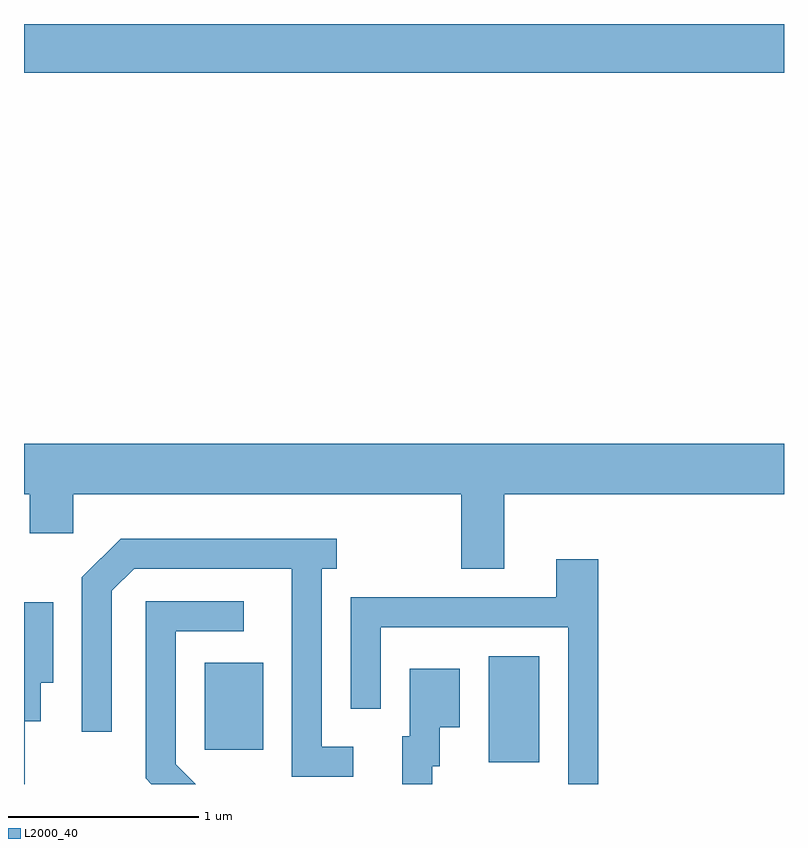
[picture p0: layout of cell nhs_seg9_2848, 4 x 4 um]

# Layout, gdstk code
import gdstk
lib = gdstk.Library(unit=1e-6, precision=1e-09)
def R(c, l, rs):  # rectangles x0, y0, x1, y1
    for r in rs: c.add(gdstk.rectangle(r[:2], r[2:], *l))
def P(c, l, *ps):  # polygons
    for p in ps: c.add(gdstk.Polygon(p, *l))
L2000_40 = (2000, 40)

nhs_seg9_2848 = lib.new_cell('nhs_seg9_2848')
R(nhs_seg9_2848, L2000_40, [(270.056,2072.546,270.324,2073.104), (268.561,2072.611,268.869,2073.069), (267.611,2076.176,271.611,2076.432)])
P(nhs_seg9_2848, L2000_40, [(270.139,2073.956),(271.611,2073.956),(271.611,2074.224),(267.611,2074.224),(267.611,2073.956),(267.641,2073.956),(267.641,2073.751),(267.869,2073.751),(267.869,2073.956),(269.911,2073.956),(269.911,2073.566),(270.139,2073.566)],
  [(269.343,2072.629),(269.179,2072.629),(269.179,2073.566),(269.258,2073.566),(269.258,2073.724),(268.119,2073.724),(267.916,2073.521),(267.916,2072.708),(268.074,2072.708),(268.074,2073.449),(268.192,2073.566),(269.021,2073.566),(269.021,2072.471),(269.343,2072.471)],
  [(270.634,2073.614),(270.411,2073.614),(270.411,2073.414),(269.331,2073.414),(269.331,2072.827),(269.489,2072.827),(269.489,2073.256),(270.476,2073.256),(270.476,2072.432),(270.634,2072.432)],
  [(268.409,2072.537),(268.409,2073.236),(268.768,2073.236),(268.768,2073.394),(268.251,2073.394),(268.251,2072.463),(268.282,2072.432),(268.514,2072.432)],
  [(267.614,2072.761),(267.699,2072.761),(267.699,2072.966),(267.764,2072.966),(267.764,2073.389),(267.611,2073.389),(267.611,2072.432),(267.614,2072.432)],
  [(269.759,2072.526),(269.799,2072.526),(269.799,2072.731),(269.904,2072.731),(269.904,2073.039),(269.641,2073.039),(269.641,2072.684),(269.601,2072.684),(269.601,2072.432),(269.759,2072.432)])

lib.write_gds('nhs_seg9_2848.gds')
